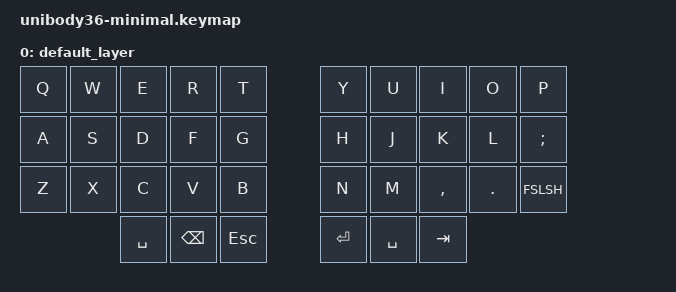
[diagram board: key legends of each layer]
/*
 * Minimal test keymap for debugging
 * Just basic keys, no layers, no mods
 */

#include <behaviors.dtsi>
#include <dt-bindings/zmk/keys.h>
#include <dt-bindings/zmk/bt.h>

/ {
    keymap {
        compatible = "zmk,keymap";

        default_layer {
            bindings = <
                &kp Q  &kp W  &kp E  &kp R  &kp T    &kp Y  &kp U  &kp I     &kp O    &kp P
                &kp A  &kp S  &kp D  &kp F  &kp G    &kp H  &kp J  &kp K     &kp L    &kp SEMI
                &kp Z  &kp X  &kp C  &kp V  &kp B    &kp N  &kp M  &kp COMMA &kp DOT  &kp FSLSH
                              &kp SPACE &kp BSPC &kp ESC    &kp RET &kp SPACE &kp TAB
            >;
        };
    };
};
